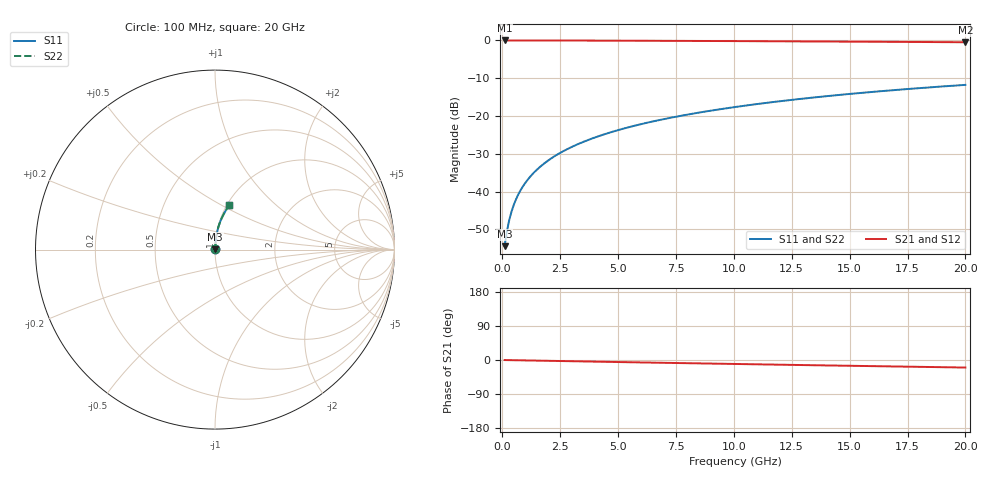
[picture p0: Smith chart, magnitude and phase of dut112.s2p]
! Touchstone file exported from HFSS 2024.1.0
!  File:  C:/UserFiles/LocalFiles/RDL_TSV_Batchsim/temp_RDL_bottom_112_1778695657.aedt
!  Generated:  02:10:35 AM May 14, 2026
!  Design:  RDL_bottom
!  Project:  temp_RDL_bottom_112_1778695657
!  Setup:  Setup1
!  Solution:  Sweep
! Variables:
!  dtsv = 10.80580581um
!  hbump = 3um
!  htsv = 95.2um
!  ldown = 209.05um
!  lrdl = 100um
!  p = 40
!  p1 = 55.79um
!  rhole = 1um
!  t = 450um
!  tdown = 4.53um
!  trdl = 3.915915916um
!  wdown = 13.27um
!  wrdl = 20um
# GHz S MA R 50.000000
! Terminal data exported
! Port[1] = RDL1_T1
! Port[2] = RDL1_T2
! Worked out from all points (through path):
!   200 points, 100 MHz to 20 GHz, reference 50 ohm
!   highest |S21| = -0.01 dB at 100 MHz (marker M1); lowest = -0.5 dB at 20 GHz (marker M2)
!   group delay of S21, straight-line fit = 2.75 ps
!   lowest |S11| = -54.4 dB at 100 MHz (marker M3), VSWR 1.00, Z = 50.1 + j0.134 ohm
!   |S11| at or under -10 dB: start of sweep to end of sweep
!   |S22| runs from -54.4 to -11.8 dB; largest |S21 - S12| = 4e-15
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0.1  0.001903 44.8  0.9986 -0.1  0.9986 -0.1  0.001903 44.8
! Gamma 0 0 0 0
! Port Impedance 50 0 50 0
0.2  0.003004 62.6  0.9986 -0.2  0.9986 -0.2  0.003004 62.6
0.3  0.004224 70.4  0.9986 -0.3  0.9986 -0.3  0.004224 70.4
0.4  0.005477 74.6  0.9985 -0.4  0.9985 -0.4  0.005477 74.6
0.5  0.006742 77.2  0.9985 -0.6  0.9985 -0.6  0.006742 77.2
0.6  0.008014 79.0  0.9984 -0.7  0.9984 -0.7  0.008014 79.0
0.8  0.01057 81.3  0.9983 -0.9  0.9983 -0.9  0.01057 81.3
1.1  0.01443 83.2  0.9982 -1.2  0.9982 -1.2  0.01443 83.2
1.5  0.0196 84.4  0.9979 -1.7  0.9979 -1.7  0.0196 84.4
1.8  0.02349 84.9  0.9976 -2.0  0.9976 -2.0  0.02349 84.9
2.1  0.02738 85.2  0.9973 -2.3  0.9973 -2.3  0.02738 85.2
2.7  0.03517 85.5  0.9966 -3.0  0.9966 -3.0  0.03517 85.5
3.5  0.04558 85.4  0.9954 -3.8  0.9954 -3.8  0.04558 85.4
4.2  0.0547 85.2  0.9941 -4.6  0.9941 -4.6  0.0547 85.2
5  0.06515 84.8  0.9925 -5.4  0.9925 -5.4  0.06515 84.8
5.9  0.07694 84.3  0.9905 -6.3  0.9905 -6.3  0.07694 84.3
6.8  0.08876 83.7  0.9884 -7.3  0.9884 -7.3  0.08876 83.7
8.3  0.1085 82.6  0.9844 -8.8  0.9844 -8.8  0.1085 82.6
10.1  0.1322 81.1  0.9794 -10.6  0.9794 -10.6  0.1322 81.1
13.4  0.1754 78.2  0.9691 -13.8  0.9691 -13.8  0.1754 78.2
16.7  0.2176 75.1  0.9579 -16.9  0.9579 -16.9  0.2176 75.1
20  0.2583 72.1  0.9456 -19.9  0.9456 -19.9  0.2583 72.1
